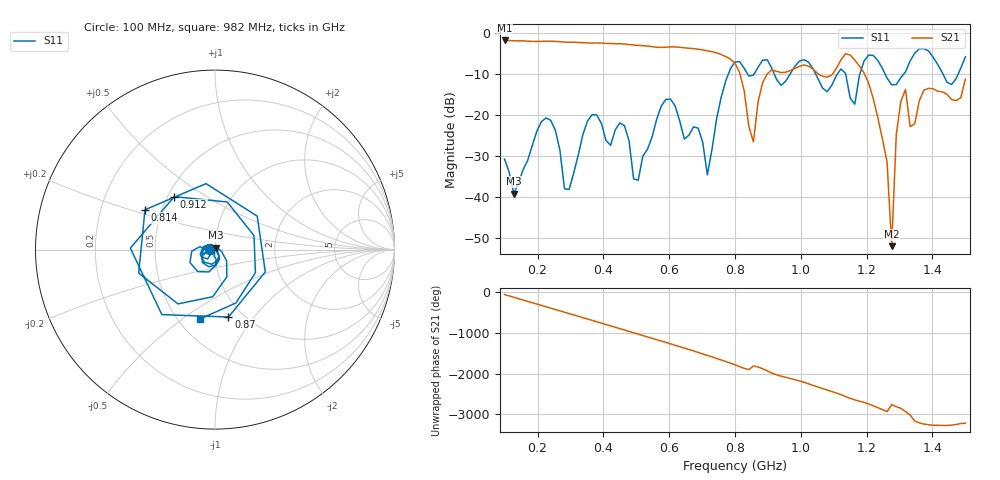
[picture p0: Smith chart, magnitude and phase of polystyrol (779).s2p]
! NanoVNA-App
! Date: 2025-09-25 15:35:57
! Start: 100MHz Stop: 1,5GHz Points: 101
! S-Parameter data: F S11 S21 S12 S22
# Hz S RI R 50
!  Frequency  S11_Real  S11_Imag  S21_Real  S21_Imag  S12_Real  S12_Imag  S22_Real  S22_Imag
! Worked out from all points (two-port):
!   101 points, 100 MHz to 1.5 GHz, reference 50 ohm
!   highest |S21| = -1.80 dB at 100 MHz (marker M1); lowest = -51.9 dB at 1.276 GHz (marker M2)
!   |S21| within 3 dB of the highest: start of sweep to 743.1 MHz
!   lowest |S11| = -39.1 dB at 128 MHz (marker M3), VSWR 1.02, Z = 50.3 + j1.06 ohm
!   |S11| at or under -10 dB: start of sweep to 779.8 MHz; 1.045 GHz to 1.111 GHz (65.6 MHz wide, 6.08 % of centre); 1.256 GHz to 1.312 GHz (56.15 MHz wide, 4.37 % of centre) (the widest 3 of 7)
!   S12 and S22 are empty: the file has one direction only
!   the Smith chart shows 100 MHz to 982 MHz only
!   S11 on the Smith chart (normalised r, x): 100 MHz: 0.94, -0.01; 814 MHz: 0.40, +0.22; 870 MHz: 0.86, -0.75; 912 MHz: 0.54, +0.37; 982 MHz: 0.64, -0.59
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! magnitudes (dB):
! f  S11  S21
! 100 MHz  -30.7  -1.8
! 128 MHz  -39.1  -1.9
! 212 MHz  -21.6  -2.0
! 282 MHz  -37.9  -2.2
! 338 MHz  -24.7  -2.3
! 506 MHz  -35.8  -3.0
! 576 MHz  -17.8  -3.5
! 716 MHz  -34.5  -4.3
! 800 MHz  -7.0  -7.4
! 814 MHz  -7.0  -9.6
! 856 MHz  -10.3  -26.5
! 870 MHz  -8.3  -16.8
! 912 MHz  -8.6  -8.9
! 982 MHz  -8.1  -8.6
! 1.038 GHz  -8.9  -8.9
! 1.164 GHz  -17.3  -6.6
! 1.206 GHz  -5.4  -12.2
! 1.262 GHz  -11.0  -31.4
! 1.276 GHz  -12.6  -51.9
! 1.29 GHz  -12.5  -24.8
! 1.318 GHz  -9.5  -13.7
! 1.5 GHz  -5.8  -11.2
